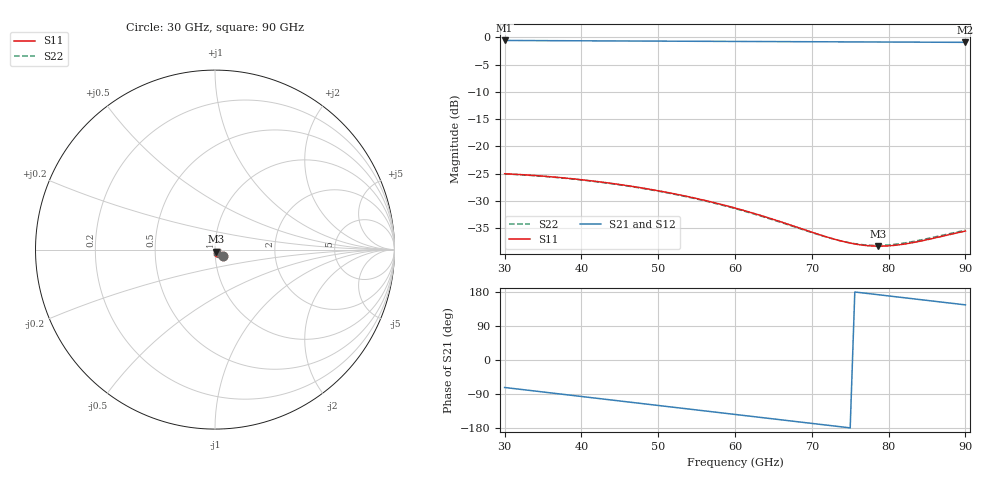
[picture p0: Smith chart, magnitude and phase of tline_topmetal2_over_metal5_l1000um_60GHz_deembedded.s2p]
! Created with skrf 2.2.0 (http://scikit-rf.org).
# GHz S DB R 50.0
! Port[1] = P1
! Port[2] = P2
!freq dBS11 angS11 dBS21 angS21 dBS12 angS12 dBS22 angS22
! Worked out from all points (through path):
!   101 points, 30 GHz to 90 GHz, reference 50 ohm
!   highest |S21| = -0.59 dB at 30 GHz (marker M1); lowest = -0.9 dB at 90 GHz (marker M2)
!   group delay of S21, straight-line fit = 6.57 ps
!   lowest |S11| = -38.3 dB at 78.6 GHz (marker M3), VSWR 1.02, Z = 50.4 - j1.14 ohm
!   |S11| at or under -10 dB: start of sweep to end of sweep
!   |S22| runs from -38.1 to -25.0 dB; largest |S21 - S12| = 2.2e-14
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30  -25.01 -41.8  -0.59 -72.5  -0.59 -72.5  -25.04 -41.7
33  -25.25 -48.0  -0.61 -79.6  -0.61 -79.6  -25.28 -47.9
35.4  -25.49 -52.9  -0.62 -85.4  -0.62 -85.4  -25.53 -52.8
37.8  -25.79 -57.8  -0.64 -91.0  -0.64 -91.0  -25.83 -57.6
40.2  -26.14 -62.5  -0.65 -96.7  -0.65 -96.7  -26.18 -62.3
42.6  -26.54 -67.1  -0.67 -102.4  -0.67 -102.4  -26.59 -66.9
45  -26.99 -71.5  -0.68 -108.1  -0.68 -108.1  -27.05 -71.3
47.4  -27.50 -75.8  -0.69 -113.8  -0.69 -113.8  -27.57 -75.5
50.4  -28.23 -80.8  -0.71 -120.9  -0.71 -120.9  -28.31 -80.4
55.2  -29.61 -87.8  -0.74 -132.3  -0.74 -132.3  -29.70 -87.3
60  -31.29 -93.0  -0.77 -143.7  -0.77 -143.7  -31.39 -92.3
63  -32.50 -94.9  -0.78 -150.7  -0.78 -150.7  -32.61 -94.0
65.4  -33.56 -95.3  -0.80 -156.4  -0.80 -156.4  -33.67 -94.2
70.2  -35.80 -91.8  -0.82 -167.8  -0.82 -167.8  -35.88 -90.2
72.6  -36.86 -87.2  -0.84 -173.4  -0.84 -173.4  -36.89 -85.4
75  -37.72 -80.5  -0.85 -179.1  -0.85 -179.1  -37.68 -78.6
76.8  -38.13 -74.4  -0.86 176.6  -0.86 176.6  -38.04 -72.5
78.6  -38.28 -67.9  -0.87 172.4  -0.87 172.4  -38.14 -66.1
80.4  -38.18 -61.6  -0.88 168.1  -0.88 168.1  -38.00 -60.1
82.8  -37.72 -54.4  -0.89 162.5  -0.89 162.5  -37.52 -53.4
85.2  -37.04 -49.2  -0.91 156.8  -0.91 156.8  -36.84 -48.5
90  -35.51 -44.0  -0.93 145.5  -0.93 145.5  -35.36 -43.9
